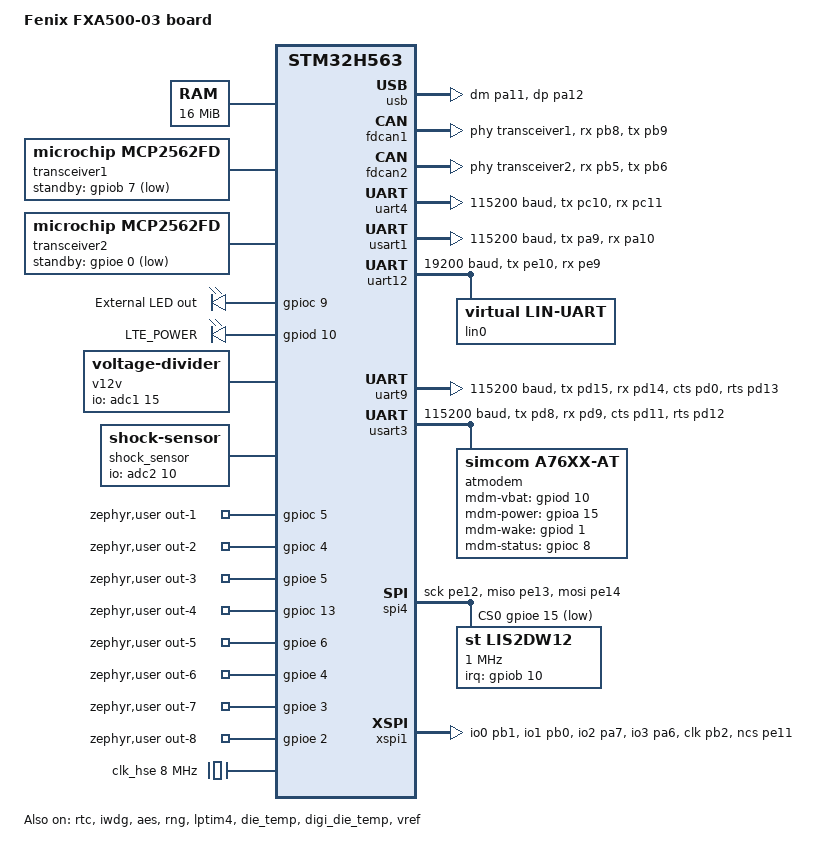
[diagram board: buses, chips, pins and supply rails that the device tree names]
/*
 * Copyright (c) 2023 Nuvoton Technology Corporation.
 *
 * SPDX-License-Identifier: Apache-2.0
 */


#include <st/h5/stm32h563Xi.dtsi>
#include <st/h5/stm32h563vgtx-pinctrl.dtsi>
#include <zephyr/dt-bindings/input/input-event-codes.h>
#include <zephyr/dt-bindings/memory-attr/memory-attr.h>
#include <zephyr/dt-bindings/memory-attr/memory-attr-arm.h>

// #include <nuvoton/m2354.dtsi>
// // #include "fxa500_02-pinctrl.dtsi"
// #include <zephyr/dt-bindings/input/input-event-codes.h>

/ {
	model = "Fenix FXA500-03 board";
	compatible = "st,stm32h563";

	aliases {
		led0 = &out_led;
		// sw0 = &user_button_1;
		// sw1 = &user_button_2;
		// modem-uart = &usart3;		// WTF? Це дійсно треба?
		// modem = &modem;
		atmodem = &atmodem;
		accel0 = &lis2dw12;
		// adc0 = &eadc;

		// analog-inputs = &analog_inputs0;
		v12v = &v12v;
		// shake-sensor = &shake_sensor;
		// accelerometer = &mma8652fc;

		// shock-sensor = &shock_sensor;
		shock-sensor = &shock_sensor;

		// Out of standard drivers and declarations
		// TODO: Це треба перенести у відповідний драйвер.
		lte-power = &lte_power;
		lte = &atmodem;

		watchdog0 = &iwdg;
		die-temp0 = &die_temp;
		die-temp1 = &digi_die_temp;
		volt-sensor0 = &vref;
		volt-sensor1 = &vbat;
	};

	ext_flash_mem: memory@90000000 {
		compatible = "zephyr,memory-region";
		reg = <0x90000000 DT_SIZE_M(16)>;
		zephyr,memory-region = "EXT_FLASH";
		/* DT_MEM_ARM_MPU_EXTMEM and DT_MEM_ARM_MPU_FLASH cause MPU issues */
		zephyr,memory-attr = <DT_MEM_ARM_MPU_IO>;
	};

	transceiver1: can-phy1 {
		compatible = "microchip,mcp2562fd", "can-transceiver-gpio";
		standby-gpios = <&gpiob 7 GPIO_ACTIVE_LOW>;
		max-bitrate = <5000000>;
		#phy-cells = <0>;
	};

	transceiver2: can-phy2 {
		compatible = "microchip,mcp2562fd", "can-transceiver-gpio";
		standby-gpios = <&gpioe 0 GPIO_ACTIVE_LOW>;
		max-bitrate = <5000000>;
		#phy-cells = <0>;
	};


	chosen {
		zephyr,console = &uart4;
		zephyr,shell-uart = &uart4;
		zephyr,sram = &sram1;
		// zephyr,code-partition = &code_partition;
		// zephyr,boot-partition = &boot_partition;
		zephyr,canbus = &fdcan2;
		// zephyr,lte = &lte;

		// Use one of WiFi or BLE depend of ESP firmware
		zephyr,bt-hci = &bt_hci_uart;
	};

	leds {
		compatible = "gpio-leds";
		// status = "disabled";
		out_led: led_0 {
			gpios = <&gpioc 9 GPIO_ACTIVE_HIGH>;
			label = "External LED out";
		};
		// Тимчасово зроблю як світлодіод. Хрін знає як прямо визначати GPIO
		lte_power: lte_power {
			gpios = <&gpiod 10 GPIO_ACTIVE_HIGH>;
			label = "LTE_POWER";
		};
	};

	v12v: v12v {
		compatible = "voltage-divider";
		status = "okay";
		io-channels = <&adc1 15>;
		// Cheat! Multiply by 1000 for millivolts is voltage divider sensor output
		full-ohms = <(20000 + 2000)>;
		output-ohms = <2>;
	};

	// v12v: v12v {
	// 	compatible = "voltage-divider";
	// 	status = "okay";
	// 	io-channels = <&eadc 6>;
	// 	// Cheat! Multiply by 1000 for millivolts is voltage divider sensor output
	// 	full-ohms = <(20000 + 2000)>;
	// 	output-ohms = <2>;
	// };

	// shake_sensor: shake_sensor {
	// 	compatible = "voltage-divider";
	// 	status = "okay";
	// 	io-channels = <&eadc 15>;
	// 	// Cheat! Multiply by 1000 for millivolts is voltage divider sensor output
	// 	full-ohms = <1000>;
	// 	output-ohms = <1>;
	// };

	// shock_sensor: shock_sensor {
	// 	compatible = "zephyr,shock-sensor";
	// 	status = "okay";
	// 	// status = "disabled";
	// 	io-channels = <&eadc 15>;
	// 	sampling-period-ms = <2>;
	// 	// sampling-period-ms = <10>;
	// };

	shock_sensor: shock-sensor {
		compatible = "zephyr,shock-sensor";
		status = "okay";
		io-channels = <&adc2 10>;
		sampling-period-ms = <2>;
		// sampling-period-ms = <10>;
	};

	// analog_inputs0: analog-input {
	// 	compatible = "analog-input";
	// 	// poll-period-ms = <32>;
	// 	poll-period-ms = <1000>;

	// 	in1 {
	// 		id = <0>;
	// 		io-channels = <&adc1 11>;
	// 		r_top = <1100>;
	// 		r_bottom = <200>;
	// 	};

	// 	in2 {
	// 		id = <1>;
	// 		io-channels = <&adc1 12>;
	// 		r_top = <1100>;
	// 		r_bottom = <200>;
	// 	};

	// 	in3 {
	// 		id = <2>;
	// 		io-channels = <&adc1 13>;
	// 		r_top = <1100>;
	// 		r_bottom = <200>;
	// 	};

	// 	in4 {
	// 		id = <3>;
	// 		io-channels = <&adc1 0>;
	// 		r_top = <1100>;
	// 		r_bottom = <200>;
	// 	};

	// 	in5 {
	// 		id = <4>;
	// 		io-channels = <&adc1 1>;
	// 		r_top = <1100>;
	// 		r_bottom = <200>;
	// 	};

	// 	in6 {
	// 		id = <5>;
	// 		io-channels = <&adc1 14>;
	// 		r_top = <1100>;
	// 		r_bottom = <200>;
	// 	};

	// 	in7 {
	// 		id = <6>;
	// 		io-channels = <&adc1 19>;
	// 		r_top = <1100>;
	// 		r_bottom = <200>;
	// 	};

	// 	in8 {
	// 		id = <7>;
	// 		io-channels = <&adc1 18>;
	// 		r_top = <1100>;
	// 		r_bottom = <200>;
	// 	};
	// };

	// analog_inputs0: analog-input {
	// 	compatible = "analog-input";
	// 	// poll-period-ms = <32>;
	// 	poll-period-ms = <100>;

	// 	in1 {
	// 		id = <0>;
	// 		io-channels = <&eadc 14>;
	// 		r_top = <1100>;
	// 		r_bottom = <200>;
	// 	};

	// 	in2 {
	// 		id = <1>;
	// 		io-channels = <&eadc 13>;
	// 		r_top = <1100>;
	// 		r_bottom = <200>;
	// 	};

	// 	in3 {
	// 		id = <2>;
	// 		io-channels = <&eadc 12>;
	// 		r_top = <1100>;
	// 		r_bottom = <200>;
	// 	};

	// 	in4 {
	// 		id = <3>;
	// 		io-channels = <&eadc 11>;
	// 		r_top = <1100>;
	// 		r_bottom = <200>;
	// 	};

	// 	in5 {
	// 		id = <4>;
	// 		io-channels = <&eadc 10>;
	// 		r_top = <1100>;
	// 		r_bottom = <200>;
	// 	};

	// 	in6 {
	// 		id = <5>;
	// 		io-channels = <&eadc 9>;
	// 		r_top = <1100>;
	// 		r_bottom = <200>;
	// 	};

	// 	// TODO: Я спеціально поміняв місцями два останніх канали,
	// 	// щоб перевірити чи правильно буде працювати індексація
	// 	in8 {
	// 		id = <7>;
	// 		io-channels = <&eadc 7>;
	// 		r_top = <1100>;
	// 		r_bottom = <200>;
	// 	};

	// 	in7 {
	// 		id = <6>;
	// 		io-channels = <&eadc 8>;
	// 		r_top = <1100>;
	// 		r_bottom = <200>;
	// 	};
	// };

	zephyr,user {
		// compatible = "gpio-output";

		// Outputs
		out-1-gpios = <&gpioc 5 GPIO_ACTIVE_HIGH>;	// 1. Сирена
		out-2-gpios = <&gpioc 4 GPIO_ACTIVE_HIGH>;	// 2. Аварійка
		out-3-gpios = <&gpioe 5 GPIO_ACTIVE_HIGH>;	// 3. Закривання ЦЗ
		out-4-gpios = <&gpioc 13 GPIO_ACTIVE_HIGH>;	// 4. Відкривання ЦЗ
		out-5-gpios = <&gpioe 6 GPIO_ACTIVE_HIGH>;	// 5. Відкривання багажника
		out-6-gpios = <&gpioe 4 GPIO_ACTIVE_HIGH>;	// 6. Старт/Стоп
		out-7-gpios = <&gpioe 3 GPIO_ACTIVE_HIGH>;	// 7. НЗБД
		out-8-gpios = <&gpioe 2 GPIO_ACTIVE_HIGH>;	// 8. Канал 1
	};


	// fstab {
	// 	compatible = "zephyr,fstab";
	// 	lfs1: lfs1 {
	// 		compatible = "zephyr,fstab,littlefs";
	// 		read-size = <1>;
	// 		prog-size = <16>;
	// 		cache-size = <256>;
	// 		lookahead-size = <32>;
	// 		block-cycles = <512>;
	// 		partition = <&littlefs_partition>;
	// 		mount-point = "/lfs1";
	// 	};
	// };

	// gpio_keys {
	// 	compatible = "gpio-keys";
	// 	user_button_1: button_1 {
	// 		label = "User SW2";
	// 		gpios = <&gpioh 1 GPIO_ACTIVE_LOW>;
	// 		zephyr,code = <INPUT_KEY_0>;
	// 	};
	// 	user_button_2: button_2 {
	// 		label = "User SW3";
	// 		gpios = <&gpioh 0 GPIO_ACTIVE_LOW>;
	// 		zephyr,code = <INPUT_KEY_1>;
	// 	};
	// };
};

&clk_hse {
	clock-frequency = <DT_FREQ_M(8)>; /* STLink 8MHz clock */
	// hse-bypass;
	status = "okay";
};

&clk_hsi48 {
	status = "okay";
	// crs-usb-sof;
};

&clk_lse {
	status = "okay";
};

// PLL take 128...560MHz
&pll {
	div-m = <2>;	// 8MHx / 2 = 4MHz
	mul-n = <120>;	// 4MHz * 120 = 480MHz
	div-p = <2>;	// 480MHz / 2 = 240MHz (->SYSCLK)
	div-q = <3>;	// 480MHz / 3 = 160MHz (->FDCAN,...? old)
	div-r = <2>;	// 480MHz / 2 = 80MHz
	clocks = <&clk_hse>;	// HSE = 8MHz
	status = "okay";
};

&pll2 {
	div-m = <2>;
	mul-n = <120>;
	div-p = <2>;
	div-q = <3>;	// 160MHz -> FDCAN
	div-r = <2>;
	clocks = <&clk_hse>;
	status = "okay";
};

&rcc {
	clocks = <&pll>;
	clock-frequency = <DT_FREQ_M(240)>;
	ahb-prescaler = <1>;
	apb1-prescaler = <2>;
	apb2-prescaler = <1>;
	apb3-prescaler = <2>;
};

&rtc {
	clocks = <&rcc STM32_CLOCK(APB3, 21)>,
		 <&rcc STM32_SRC_LSE RTC_SEL(1)>;
	status = "okay";
};

&iwdg {
	status = "okay";
};

&gpdma1 {
	status = "okay";
};

&gpdma2 {
	status = "okay";
};

zephyr_udc0: &usb {
	pinctrl-0 = <&usb_dm_pa11 &usb_dp_pa12>;
	pinctrl-names = "default";
	status = "okay";
};




//&usb {
//	status = "okay";
/*	usb_cdc@0 {
		compatible = "usb,usb_cdc";
		status = "okay";
	};
*/
//};

&fdcan1 {
	pinctrl-0 = <&fdcan1_rx_pb8 &fdcan1_tx_pb9>;
	pinctrl-names = "default";
	// clocks = <&rcc STM32_CLOCK(APB1_2, 9)>,
	// 	 <&rcc STM32_SRC_PLL1_Q FDCAN_SEL(1)>;
	clocks = <&rcc STM32_CLOCK(APB1_2, 9)>,
		 <&rcc STM32_SRC_PLL2_Q FDCAN_SEL(2)>;
	clk-divider = <1>;	// 160MГц / clk-divider
	phys = <&transceiver1>;
	// bitrate = <500000>;
	// sample-point = <875>;
	status = "okay";

	/* Перший CAN починається з 0x0.
	   Формат: <offset std_filt ext_filt rx0 rx1 rx_buf tx_evt tx_buf> */
	// bosch,mram-cfg = <0x0 28 8 3 3 0 3 3>;
};

&fdcan2 {
	pinctrl-0 = <&fdcan2_rx_pb5 &fdcan2_tx_pb6>;
	pinctrl-names = "default";
	// clocks = <&rcc STM32_CLOCK(APB1_2, 9)>,
	// 	 <&rcc STM32_SRC_PLL1_Q FDCAN_SEL(1)>;
	clocks = <&rcc STM32_CLOCK(APB1_2, 9)>,
		 <&rcc STM32_SRC_PLL2_Q FDCAN_SEL(2)>;
	clk-divider = <1>;  // 160MГц / clk-divider
	phys = <&transceiver2>;
	// bitrate = <500000>;
	// sample-point = <875>;
	status = "okay";
	/* Другий CAN має починатися після того, як закінчиться пам'ять першого.
	   Конфігурація вище займає приблизно 848 байт.
	   Зміщення 0x400 (1024 байти) — це безпечний варіант із запасом. */
	// bosch,mram-cfg = <0x400 28 8 3 3 0 3 3>;
};


// &eadc {
// 	#address-cells = <1>;
// 	#size-cells = <0>;
// 	status = "okay";

// 	// &eadc_pb14	/* In1. Запалювання */
// 	channel@14 {
// 		reg = <14>;
// 		zephyr,gain = "ADC_GAIN_1";
// 		zephyr,reference = "ADC_REF_INTERNAL";
// 		zephyr,acquisition-time = <ADC_ACQ_TIME_DEFAULT>;
// 		zephyr,resolution = <12>;
// 		// zephyr,oversampling = <0>;
// 		zephyr,vref-mv = <3300>;
// 	};

// 	// &eadc_pb13	/* In2. Капот */
// 	channel@13 {
// 		reg = <13>;
// 		zephyr,gain = "ADC_GAIN_1";
// 		zephyr,reference = "ADC_REF_INTERNAL";
// 		zephyr,acquisition-time = <ADC_ACQ_TIME_DEFAULT>;
// 		zephyr,resolution = <12>;
// 		// zephyr,oversampling = <0>;
// 		zephyr,vref-mv = <3300>;
// 	};

// 	// &eadc_pb12	/* In3. PIN */
// 	channel@12 {
// 		reg = <12>;
// 		zephyr,gain = "ADC_GAIN_1";
// 		zephyr,reference = "ADC_REF_INTERNAL";
// 		zephyr,acquisition-time = <ADC_ACQ_TIME_DEFAULT>;
// 		zephyr,resolution = <12>;
// 		// zephyr,oversampling = <0>;
// 		zephyr,vref-mv = <3300>;
// 	};

// 	// &eadc_pb11	/* In4. Парковка */
// 	channel@11 {
// 		reg = <11>;
// 		zephyr,gain = "ADC_GAIN_1";
// 		zephyr,reference = "ADC_REF_INTERNAL";
// 		zephyr,acquisition-time = <ADC_ACQ_TIME_DEFAULT>;
// 		zephyr,resolution = <12>;
// 		// zephyr,oversampling = <0>;
// 		zephyr,vref-mv = <3300>;
// 	};

// 	// &eadc_pb10	/* In5. Тормоз */
// 	channel@10 {
// 		reg = <10>;
// 		zephyr,gain = "ADC_GAIN_1";
// 		zephyr,reference = "ADC_REF_INTERNAL";
// 		zephyr,acquisition-time = <ADC_ACQ_TIME_DEFAULT>;
// 		zephyr,resolution = <12>;
// 		// zephyr,oversampling = <0>;
// 		zephyr,vref-mv = <3300>;
// 	};

// 	// &eadc_pb9	/* In6. Мастило */
// 	channel@9 {
// 		reg = <9>;
// 		zephyr,gain = "ADC_GAIN_1";
// 		zephyr,reference = "ADC_REF_INTERNAL";
// 		zephyr,acquisition-time = <ADC_ACQ_TIME_DEFAULT>;
// 		zephyr,resolution = <12>;
// 		// zephyr,oversampling = <0>;
// 		zephyr,vref-mv = <3300>;
// 	};

// 	// &eadc_pb8	/* In7. Ручка */
// 	channel@8 {
// 		reg = <8>;
// 		zephyr,gain = "ADC_GAIN_1";
// 		zephyr,reference = "ADC_REF_INTERNAL";
// 		zephyr,acquisition-time = <ADC_ACQ_TIME_DEFAULT>;
// 		zephyr,resolution = <12>;
// 		// zephyr,oversampling = <0>;
// 		zephyr,vref-mv = <3300>;
// 	};

// 	// &eadc_pb7	/* In8. Дозвіл/Резервне живлення */
// 	channel@7 {
// 		reg = <7>;
// 		zephyr,gain = "ADC_GAIN_1";
// 		zephyr,reference = "ADC_REF_INTERNAL";
// 		zephyr,acquisition-time = <ADC_ACQ_TIME_DEFAULT>;
// 		zephyr,resolution = <12>;
// 		// zephyr,oversampling = <0>;
// 		zephyr,vref-mv = <3300>;
// 	};

// 	// &eadc_pb6	/* +12V Основне живлення */
// 	channel@6 {
// 		reg = <6>;
// 		zephyr,gain = "ADC_GAIN_1";
// 		zephyr,reference = "ADC_REF_INTERNAL";
// 		zephyr,acquisition-time = <ADC_ACQ_TIME_DEFAULT>;
// 		zephyr,resolution = <12>;
// 		// zephyr,oversampling = <0>;
// 		zephyr,vref-mv = <3300>;
// 	};

// 	// &eadc_pb15	/* Датчик удару */
// 	channel@15 {
// 		reg = <15>;
// 		zephyr,gain = "ADC_GAIN_1";
// 		zephyr,reference = "ADC_REF_INTERNAL";
// 		zephyr,acquisition-time = <ADC_ACQ_TIME_DEFAULT>;
// 		zephyr,resolution = <12>;
// 		// zephyr,oversampling = <0>;
// 		zephyr,vref-mv = <3300>;
// 	};

// 	// // 	// vref-internal-mv = <3000>;
// 	pinctrl-0 = <
// 		&eadc_pb14	/* In1. Запалювання */
// 		&eadc_pb13	/* In2. Капот */
// 		&eadc_pb12	/* In3. PIN */
// 		&eadc_pb11	/* In4. Парковка */
// 		&eadc_pb10	/* In5. Тормоз */
// 		&eadc_pb9	/* In6. Мастило */
// 		&eadc_pb8	/* In7. Ручка */
// 		&eadc_pb7	/* In8. Дозвіл/Резервне живлення */
// 		&eadc_pb6	/* +12V Основне живлення */
// 		&eadc_pb15	/* Датчик удару */
// 	>;
// 	pinctrl-names = "default";

// // 	#address-cells = <1>;
// // 	#size-cells = <0>;
// // 	vref-internal-mv = <3000>;

// 	// channel@14 {
// 	// 	reg = <14>;
// 	// 	zephyr,gain = "ADC_GAIN_1";
// 	// 	zephyr,reference = "ADC_REF_INTERNAL";
// 	// 	zephyr,acquisition-time = <ADC_ACQ_TIME_DEFAULT>;
// 	// 	zephyr,resolution = <12>;
// 	// 	zephyr,vref-mv = <3000>;
// 	// 	// label = "In1. Запалювання";

// 	// };
// };

// &spi2 {
// 	status = "okay";
// 	pinctrl-0 = <&spi2_pa9_pa8_pa10>;
// 	pinctrl-names = "default";
// 	cs-gpios = <&gpioa 11 GPIO_ACTIVE_LOW>;

// 	spi2_flash: w25q128@0 {
// 		// compatible = "winbond,w25q128";
// 		compatible = "jedec,spi-nor";
// 		size = <(16*1024*1024)>;
// 		reg = <0>;
// 		spi-max-frequency = <1000000>;
// 		// clk-frequency = <25000000>;
// 		jedec-id = [ef 40 18];		// W25Q128JV-IN/IQ/JQ = 0xEF 40 18
// 									// W25Q128JV-IM*/JM* = 0xEF 70 18
// 		status = "okay";

// 		partitions {
// 			compatible = "fixed-partitions";
// 			#address-cells = <1>;
// 			#size-cells = <1>;

// 			/* This is the littlefs v1 file system pre-installed
// 		 	* by Particle.
// 		 	*/
// 			littlefs_partition: partition@0 {
// 				label = "littlefs";
// 				reg = <0x00000000 DT_SIZE_M(8)>;	// Eah! Half of entire memory.
// 			};

// 			/* 1MB partition to use for raw data storage. */
// 			storage_partition: partition@800000 {
// 				label = "storage";
// 				reg = <DT_SIZE_M(8) DT_SIZE_M(1)>;
// 			};

// 			/* 7MB partition for GPS-buffer data. */
// 			gps_partition: partition@900000 {
// 				label = "gps";
// 				reg = <DT_SIZE_M(8) DT_SIZE_M(7)>;
// 			};


// 		};
// 	};
// };

// &i2c1 {
// 	status = "okay";
// 	pinctrl-0 = <&i2c1_pa7_pa6>;
// 	pinctrl-names = "default";

// 	// Int on PC6/INT2
// 	mma8652fc: mma8652fc@1d {
// 		compatible = "nxp,fxos8700","nxp,mma8652fc";
// 		reg = <0x1d>;
// 		int1-gpios = <&gpioc 6 (GPIO_ACTIVE_LOW | GPIO_PULL_UP)>;
// 		// interrupt-parent = <&gpioc>;
// 		// interrupts = <6 IRQ_TYPE_EDGE_FALLING>;
// 	};
// };

// // &scc {
// // 	/* For USB 1.1 Host/Device/OTG, configure to 192MHz, which can generate necessary 48MHz. */
// // 	/* For USB 2.0 Host/Device/OTG or no USB application, comment out to use default. */
// // 	// core-clock = <192000000>;
// // 	core-clock = <4000000>;
// // };

&gpioa {
	status = "okay";
};

&gpiob {
	status = "okay";
};

&gpioc {
	status = "okay";
};

&gpiod {
	status = "okay";
};

&gpioe {
	status = "okay";
};

&gpioh {
	status = "okay";
};



// &uart3 {
// 	current-speed = <115200>;
// 	pinctrl-0 = <&uart3_pc2_pc3>;
// 	pinctrl-names = "default";
// 	status = "okay";
// };

// Used for console and logging
&uart4 {
	pinctrl-0 = <&uart4_tx_pc10 &uart4_rx_pc11>;
	pinctrl-names = "default";
	current-speed = <115200>;
	status = "okay";
};

// Maybe will be used for ESP32 flashing
&usart1 {
	pinctrl-0 = <&usart1_tx_pa9 &usart1_rx_pa10>;
	pinctrl-names = "default";
	current-speed = <115200>;
	//status = "okay";
};


// Used for LIN
&uart12 {
	pinctrl-0 = <&uart12_tx_pe10 &uart12_rx_pe9>;
	pinctrl-names = "default";
	current-speed = <19200>;
	//status = "okay";
	// TODO: https://github.com/dragonlock2/zephyrboards/blob/main/boards/others/stm32_esc/stm32_esc.dts
    lin0: lin0 {
        compatible = "virtual,lin-uart";
        status = "okay";
        bitrate = <19200>;
        max-wait-percent = <200>;
    };
};


// Used for BLE (AT?)
&uart9 {
	pinctrl-0 = <&uart9_tx_pd15 &uart9_rx_pd14 &uart9_cts_pd0 &uart9_rts_pd13>;
	pinctrl-names = "default";
	current-speed = <115200>;
	hw-flow-control;
	status = "okay";
	/*
	esp_wifi: esp-wifi {
		compatible = "espressif,esp-at";
		// power-gpios = <&gpiod 4 (GPIO_ACTIVE_HIGH | GPIO_OPEN_DRAIN)>;
		power-gpios = <&gpiod 4 (GPIO_ACTIVE_HIGH | GPIO_OPEN_DRAIN)>;
		status = "okay";
	};
	*/
	bt_hci_uart: bt_hci_uart {
		compatible = "zephyr,bt-hci-uart";
		status = "okay";
		reset-gpios = <&gpioc 12 (GPIO_ACTIVE_HIGH | GPIO_OPEN_DRAIN)>;

		// da1453x {
		// 	compatible = "renesas,bt-hci-da1453x";
		// 	reset-gpios = <&mikrobus_header 1 GPIO_ACTIVE_HIGH>;
		// 	status = "okay";
		// };
	};
};


// Used for LTE (cellular modem)
&usart3 {
	pinctrl-0 = <&usart3_tx_pd8 &usart3_rx_pd9 &usart3_cts_pd11 &usart3_rts_pd12>;
	pinctrl-names = "default";
	current-speed = <115200>;
	hw-flow-control;
	status = "okay";
	// modem: modem {
	// 	compatible = "simcom,a76xx";
	// 	// power-gpios = <&gpiod 4 (GPIO_ACTIVE_HIGH | GPIO_OPEN_DRAIN)>;
	// 	// mdm-vbat-gpios = <&gpiod 10 (GPIO_ACTIVE_HIGH)>;	// Main power
	// 	mdm-power-gpios = <&gpioa 15 (GPIO_ACTIVE_HIGH)>;	// PWRKEY. Not is POWER
	// 	mdm-wake-gpios = <&gpiod 1 (GPIO_ACTIVE_HIGH)>;		// ~DTR
	// 	// mdm-status-gpios = <&gpioc 8 (GPIO_ACTIVE_HIGH)>;	// STATUS
	// 	status = "okay";
	// };
	atmodem: atmodem {
		compatible = "simcom,a76xx-at";
		// power-gpios = <&gpiod 4 (GPIO_ACTIVE_HIGH | GPIO_OPEN_DRAIN)>;
		mdm-vbat-gpios = <&gpiod 10 (GPIO_ACTIVE_HIGH)>;	// Main power
		mdm-power-gpios = <&gpioa 15 (GPIO_ACTIVE_HIGH)>;	// PWRKEY. Not is POWER
		mdm-wake-gpios = <&gpiod 1 (GPIO_ACTIVE_HIGH)>;		// ~DTR
		mdm-status-gpios = <&gpioc 8 (GPIO_ACTIVE_HIGH)>;	// STATUS
		status = "okay";
	};
};


&spi4 {
	pinctrl-0 = <&spi4_sck_pe12 &spi4_miso_pe13 &spi4_mosi_pe14>;
	pinctrl-names = "default";
	cs-gpios = <&gpioe 15 (GPIO_ACTIVE_LOW | GPIO_PULL_UP)>;
	status = "okay";

	lis2dw12: lis2dw12@0 {
		compatible = "st,lis2dw12";
		status = "okay";
		spi-max-frequency = <1000000>;
		reg = <0>;
		irq-gpios = <&gpiob 10 GPIO_ACTIVE_HIGH>;
		int-pin = <1>;
	};

};

&xspi1 {
	pinctrl-0 = <&octospi1_io0_pb1 &octospi1_io1_pb0
		     &octospi1_io2_pa7 &octospi1_io3_pa6
		     &octospi1_clk_pb2 &octospi1_ncs_pe11>;
	pinctrl-names = "default";
	status = "okay";
};

// &uart5 {
// 	current-speed = <115200>;
// 	pinctrl-0 = <&uart5_pa4_pa5>;
// 	pinctrl-names = "default";
// 	status = "okay";

// 	gsm: gsm-modem {
// 		compatible = "simcom,a7682e";
// 		label = "SIMCOM A7682E";

// 		/*status-gpios = <&portb 12 GPIO_ACTIVE_LOW>; */

// 		status-gpios = <&gpioc 7 GPIO_ACTIVE_HIGH>;
// 		dtr-gpios = <&gpioa 2 GPIO_ACTIVE_HIGH>;
// 		pwrkey-gpios = <&gpiof 4 GPIO_ACTIVE_HIGH>;
// 		power-gpios = <&gpioa 3 GPIO_ACTIVE_HIGH>;
// 	};

// };

// &canfd0 {
// 	bus-speed = <125000>;
// 	bus-speed-data = <1000000>;
// 	pinctrl-0 = <&canfd0_default>;
// 	pinctrl-names = "default";
// 	status = "okay";
// };

// &emac {
// 	pinctrl-0 = <&emac_default>;
// 	pinctrl-names = "default";
// 	status = "okay";
// };

&aes {
	status = "okay";
};

&rng {
	status = "okay";
};


// For low-power tick source

stm32_lp_tick_source: &lptim4 {
	clocks = <&rcc STM32_CLOCK(APB3, 13)>,
		 <&rcc STM32_SRC_LSI LPTIM4_SEL(4)>;
	status = "okay";
};

&die_temp {
	status = "okay";
};

&digi_die_temp {
	status = "okay";
};

&vref {
	status = "okay";
};
